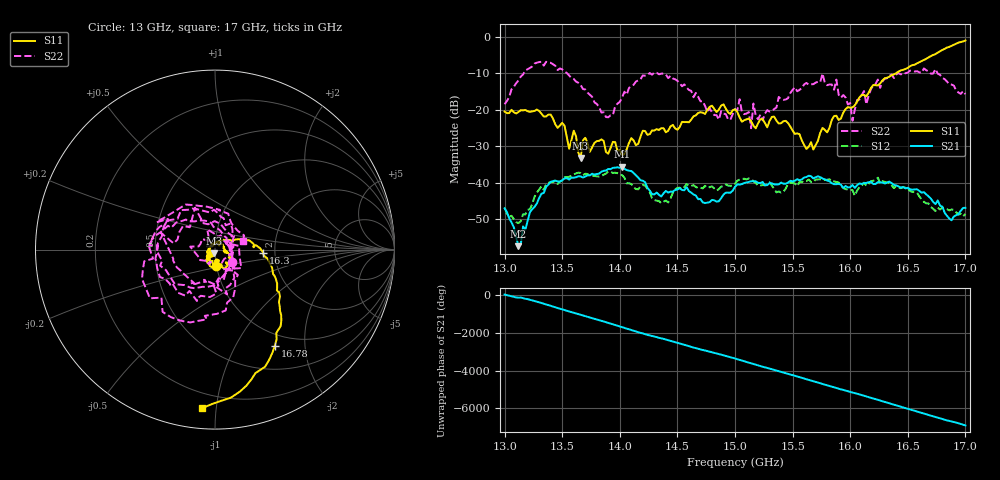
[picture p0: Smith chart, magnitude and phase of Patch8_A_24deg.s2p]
!Keysight Technologies,P9374A,MY57211810,A.19.30.04
!Date: Friday, May 09, 2025 09:21:21
!Correction: S11(Cdelta 2-Port  )
!S21(Cdelta 2-Port  )
!S12(Cdelta 2-Port  )
!S22(Cdelta 2-Port  )
!S2P File: Measurements: S11, S21, S12, S22:
# Hz S  dB  R 50
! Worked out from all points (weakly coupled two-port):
!   201 points, 13 GHz to 17 GHz, reference 50 ohm
!   highest |S21| = -35.62 dB at 14.02 GHz (marker M1); lowest = -57.4 dB at 13.12 GHz (marker M2)
!   lowest |S11| = -33.2 dB at 13.66 GHz (marker M3), VSWR 1.04, Z = 49.4 - j2.09 ohm
!   |S11| at or under -10 dB: start of sweep to 16.4 GHz
!   |S22| runs from -25.1 to -6.9 dB; largest |S21 - S12| = 0.0053
!   S11 on the Smith chart (normalised r, x): 13 GHz: 0.99, -0.19; 16.3 GHz: 1.73, -0.06; 16.78 GHz: 0.82, -1.46; 17 GHz: 0.11, -0.91
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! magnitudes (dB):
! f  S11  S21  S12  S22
! 13 GHz  -20.5  -47.0  -46.8  -18.5
! 13.12 GHz  -20.6  -57.4  -51.1  -12.0
! 13.36 GHz  -21.9  -41.2  -40.4  -6.9
! 13.56 GHz  -30.7  -39.2  -38.4  -10.6
! 13.6 GHz  -25.8  -38.6  -37.7  -11.6
! 13.66 GHz  -33.2  -38.3  -37.3  -13.2
! 13.68 GHz  -28.4  -38.6  -37.9  -14.4
! 13.88 GHz  -31.6  -36.7  -37.5  -22.0
! 14.02 GHz  -32.5  -35.6  -37.9  -16.7
! 14.34 GHz  -25.6  -43.3  -45.0  -10.3
! 14.86 GHz  -20.0  -45.1  -41.7  -22.7
! 15 GHz  -19.9  -41.1  -40.3  -19.8
! 15.14 GHz  -23.1  -39.6  -39.0  -25.1
! 15.16 GHz  -24.4  -39.6  -39.6  -18.3
! 15.24 GHz  -22.6  -39.8  -40.7  -22.9
! 15.68 GHz  -30.9  -38.8  -39.9  -13.0
! 15.88 GHz  -21.7  -40.4  -39.8  -11.8
! 16.02 GHz  -19.4  -40.6  -42.0  -23.0
! 16.3 GHz  -11.4  -40.2  -39.8  -11.5
! 16.34 GHz  -11.0  -39.7  -40.1  -10.7
! 16.78 GHz  -4.0  -46.3  -47.3  -10.5
! 17 GHz  -1.0  -46.9  -48.5  -15.8
